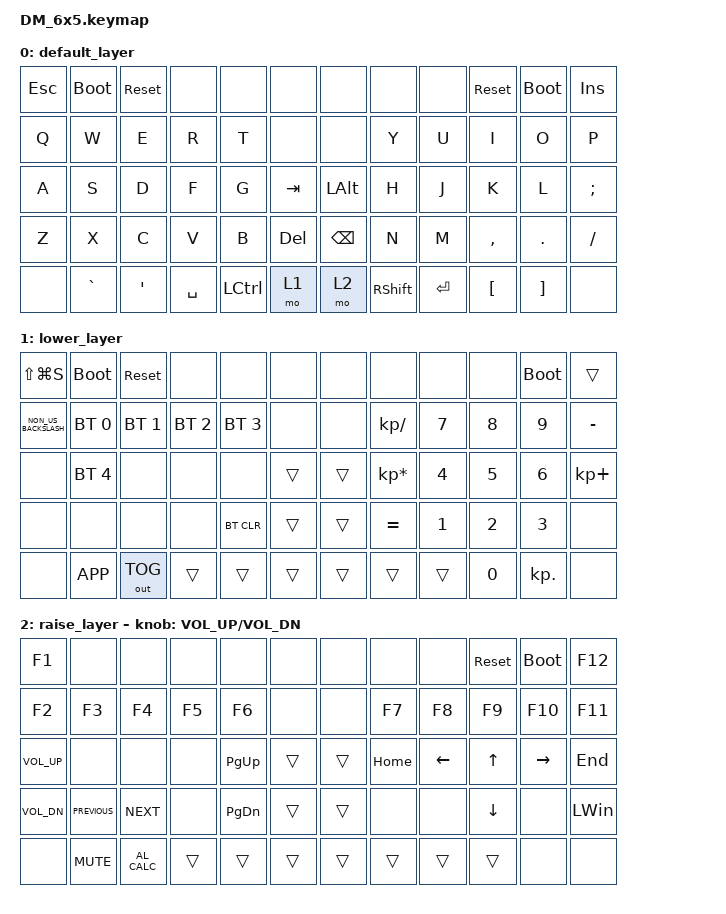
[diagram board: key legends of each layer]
/*
 * Copyright (c) 2020 The ZMK Contributors
 *
 * SPDX-License-Identifier: MIT
 */

#include <behaviors.dtsi>
#include <dt-bindings/zmk/bt.h>
#include <dt-bindings/zmk/keys.h>
#include <dt-bindings/zmk/ext_power.h>
#include <dt-bindings/zmk/outputs.h>

/ {
    keymap {
        compatible = "zmk,keymap";

        default_layer {
            // ------------------------------------------------------------------------------------------------------------
            // |  ESC  |  1  |  2  |  3   |  4   |  5   |                    |  6   |  7    |  8    |  9   |   0   |   `   |
            // |  TAB  |  A  |  S  |  S   |  R   |  T   |                    |  Y   |  U    |  I    |  O   |   P   |   -   |
            // |  CTRL |  A  |  S  |  D   |  F   |  G   |                    |  H   |  J    |  K    |  L   |   ;   |   '   |
            // | SHIFT |  Z  |  X  |  C   |  V   |  B   |   "["  |   |  "]"  |  N   |  M    |  ,    |  .   |   /   | SHIFT |
            //                     | ALT  | GUI  | LOWER|  SPACE |   | ENTER | RAISE| BSPC  | GUI   |

            bindings = <
&kp ESCAPE  &bootloader  &sys_reset  &none      &none      &none    &none         &none      &none      &sys_reset        &bootloader        &kp INS
&kp Q       &kp W        &kp E       &kp R      &kp T      &none    &none         &kp Y      &kp U      &kp I             &kp O              &kp P
&kp A       &kp S        &kp D       &kp F      &kp G      &kp TAB  &kp LEFT_ALT  &kp H      &kp J      &kp K             &kp L              &kp SEMICOLON
&kp Z       &kp X        &kp C       &kp V      &kp B      &kp DEL  &kp BSPC      &kp N      &kp M      &kp COMMA         &kp PERIOD         &kp SLASH
&none       &kp GRAVE    &kp SQT     &kp SPACE  &kp LCTRL  &mo 1    &mo 2         &kp RSHFT  &kp ENTER  &kp LEFT_BRACKET  &kp RIGHT_BRACKET  &none
            >;
        };

        lower_layer {
            // ------------------------------------------------------------------------------------------------------------
            // | BTCLR | BT1 | BT2 |  BT3 |  BT4 |  BT5 |                   |      |       |       |      |       |       |
            // |  F1   |  F2 |  F3 |  F4  |  F5  |  F6  |                   |  F7  |  F8   |  F9   |  F10 |  F11  |  F12  |
            // |   `   |  !  |  @  |  #   |  $   |  %   |                   |  ^   |  &    |  *    |  (   |   )   |   ~   |
            // |       |     |     |      |      |      |        |  |       |      |  _    |  +    |  {   |   }   |  "|"  |
            //                     |      |      |      |        |  |       |      |       |       |

            bindings = <
&kp LS(LG(S))         &bootloader   &sys_reset    &none         &none         &none   &none   &none            &none         &none   &bootloader   &trans
&kp NON_US_BACKSLASH  &bt BT_SEL 0  &bt BT_SEL 1  &bt BT_SEL 2  &bt BT_SEL 3  &none   &none   &kp KP_DIVIDE    &kp N7        &kp N8  &kp N9        &kp MINUS
&none                 &bt BT_SEL 4  &none         &none         &none         &trans  &trans  &kp KP_MULTIPLY  &kp NUMBER_4  &kp N5  &kp NUMBER_6  &kp KP_PLUS
&none                 &none         &none         &none         &bt BT_CLR    &trans  &trans  &kp EQUAL        &kp N1        &kp N2  &kp N3        &none
&none                 &kp K_APP     &out OUT_TOG  &trans        &trans        &trans  &trans  &trans           &trans        &kp N0  &kp KP_DOT    &none
            >;
        };

        raise_layer {
            // ------------------------------------------------------------------------------------------------------------
            // |       |     |     |      |      |      |                   |      |       |       |      |       |       |
            // |   `   |  1  |  2  |  3   |  4   |  5   |                   |  6   |   7   |   8   |  9   |   0   |       |
            // |   F1  |  F2 |  F3 |  F4  |  F5  |  F6  |                   |      |   <-  |   v   |  ^   |  ->   |       |
            // |   F7  |  F8 |  F9 |  F10 |  F11 |  F12 |        |  |       |  +   |   -   |   =   |  [   |   ]   |   \   |
            //                     |      |      |      |        |  |       |      |       |       |

            bindings = <
&kp F1           &none           &none          &none   &none          &none   &none   &none     &none           &sys_reset      &bootloader      &kp F12
&kp F2           &kp F3          &kp F4         &kp F5  &kp F6         &none   &none   &kp F7    &kp F8          &kp F9          &kp F10          &kp F11
&kp C_VOLUME_UP  &none           &none          &none   &kp PAGE_UP    &trans  &trans  &kp HOME  &kp LEFT_ARROW  &kp UP_ARROW    &kp RIGHT_ARROW  &kp END
&kp C_VOL_DN     &kp C_PREVIOUS  &kp C_NEXT     &none   &kp PAGE_DOWN  &trans  &trans  &none     &none           &kp DOWN_ARROW  &none            &kp LWIN
&none            &kp C_MUTE      &kp C_AL_CALC  &trans  &trans         &trans  &trans  &trans    &trans          &trans          &none            &none
            >;

            sensor-bindings = <&inc_dec_kp C_VOL_UP C_VOL_DN>;
        };
    };
};
